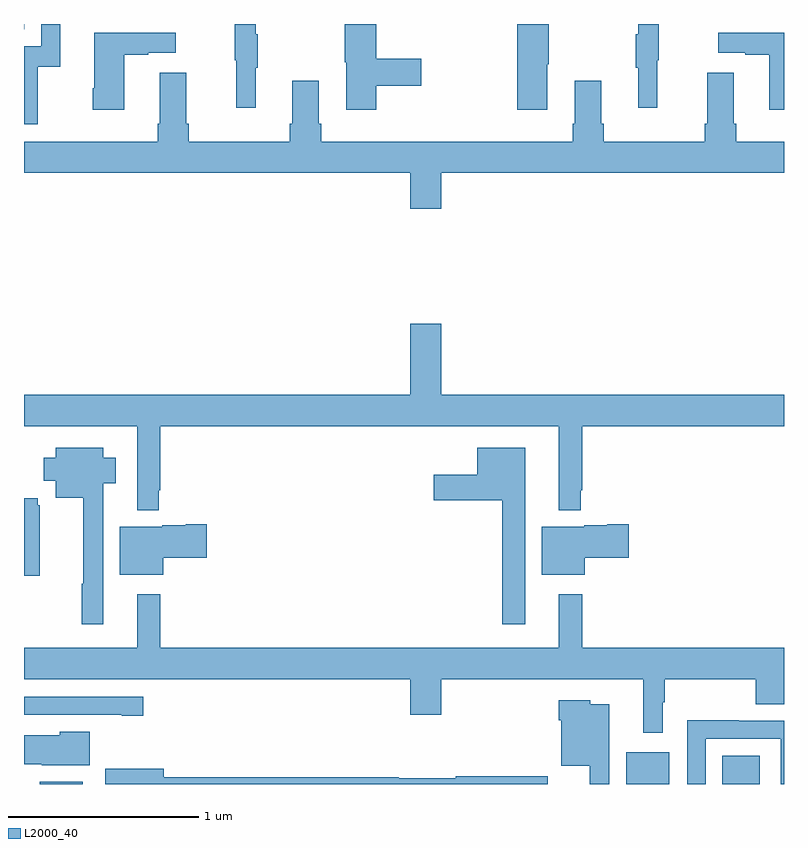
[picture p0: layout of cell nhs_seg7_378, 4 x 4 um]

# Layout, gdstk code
import gdstk
lib = gdstk.Library(unit=1e-6, precision=1e-09)
def R(c, l, rs):  # rectangles x0, y0, x1, y1
    for r in rs: c.add(gdstk.rectangle(r[:2], r[2:], *l))
def P(c, l, *ps):  # polygons
    for p in ps: c.add(gdstk.Polygon(p, *l))
L2000_40 = (2000, 40)

nhs_seg7_378 = lib.new_cell('nhs_seg7_378')
R(nhs_seg7_378, L2000_40, [(139.082,1064,139.309,1064.011), (142.169,1064,142.396,1064.167), (142.676,1064,142.873,1064.149), (139,1067.973,139.002,1068)])
P(nhs_seg7_378, L2000_40, [(142.334,1067.808),(142.342,1067.808),(142.342,1068),(142.232,1068),(142.232,1067.945),(142.221,1067.945),(142.221,1067.771),(142.232,1067.771),(142.232,1067.559),(142.334,1067.559)],
  [(141.754,1067.788),(141.762,1067.788),(141.762,1068),(141.596,1068),(141.596,1067.55),(141.754,1067.55)],
  [(140.219,1067.771),(140.23,1067.771),(140.23,1067.945),(140.219,1067.945),(140.219,1068),(140.109,1068),(140.109,1067.808),(140.116,1067.808),(140.116,1067.559),(140.219,1067.559)],
  [(139.072,1067.775),(139.19,1067.775),(139.19,1068),(139.092,1068),(139.092,1067.883),(139,1067.883),(139,1067.472),(139.072,1067.472)],
  [(140.855,1067.674),(141.091,1067.674),(141.091,1067.816),(140.855,1067.816),(140.855,1068),(140.689,1068),(140.689,1067.799),(140.696,1067.799),(140.696,1067.55),(140.855,1067.55)],
  [(143,1067.953),(142.653,1067.953),(142.653,1067.849),(142.796,1067.849),(142.796,1067.839),(142.922,1067.839),(142.922,1067.55),(143,1067.55)],
  [(139.528,1067.839),(139.655,1067.839),(139.655,1067.849),(139.798,1067.849),(139.798,1067.953),(139.37,1067.953),(139.37,1067.662),(139.363,1067.662),(139.363,1067.55),(139.528,1067.55)],
  [(143,1067.38),(142.748,1067.38),(142.748,1067.476),(142.735,1067.476),(142.735,1067.743),(142.595,1067.743),(142.595,1067.476),(142.583,1067.476),(142.583,1067.38),(142.052,1067.38),(142.052,1067.476),(142.039,1067.476),(142.039,1067.701),(141.899,1067.701),(141.899,1067.476),(141.887,1067.476),(141.887,1067.38),(140.564,1067.38),(140.564,1067.476),(140.551,1067.476),(140.551,1067.701),(140.411,1067.701),(140.411,1067.476),(140.399,1067.476),(140.399,1067.38),(139.868,1067.38),(139.868,1067.476),(139.855,1067.476),(139.855,1067.743),(139.715,1067.743),(139.715,1067.476),(139.703,1067.476),(139.703,1067.38),(139,1067.38),(139,1067.216),(141.032,1067.216),(141.032,1067.028),(141.196,1067.028),(141.196,1067.216),(143,1067.216)],
  [(139.709,1065.547),(139.717,1065.547),(139.717,1065.884),(141.815,1065.884),(141.815,1065.44),(141.929,1065.44),(141.929,1065.547),(141.937,1065.547),(141.937,1065.884),(143,1065.884),(143,1066.048),(141.196,1066.048),(141.196,1066.423),(141.032,1066.423),(141.032,1066.048),(139,1066.048),(139,1065.884),(139.595,1065.884),(139.595,1065.44),(139.709,1065.44)],
  [(139.417,1065.584),(139.483,1065.584),(139.483,1065.718),(139.417,1065.718),(139.417,1065.769),(139.166,1065.769),(139.166,1065.718),(139.103,1065.718),(139.103,1065.596),(139.166,1065.596),(139.166,1065.506),(139.313,1065.506),(139.313,1065.053),(139.303,1065.053),(139.303,1064.841),(139.417,1064.841)],
  [(141.637,1065.769),(141.386,1065.769),(141.386,1065.628),(141.156,1065.628),(141.156,1065.494),(141.516,1065.494),(141.516,1064.841),(141.637,1064.841)],
  [(139.084,1065.468),(139.072,1065.468),(139.072,1065.505),(139,1065.505),(139,1065.095),(139.084,1065.095)],
  [(141.952,1065.19),(142.183,1065.19),(142.183,1065.368),(142.07,1065.368),(142.07,1065.361),(141.948,1065.361),(141.948,1065.355),(141.725,1065.355),(141.725,1065.101),(141.952,1065.101)],
  [(139.732,1065.19),(139.963,1065.19),(139.963,1065.368),(139.85,1065.368),(139.85,1065.361),(139.728,1065.361),(139.728,1065.355),(139.505,1065.355),(139.505,1065.101),(139.732,1065.101)],
  [(142.363,1064.431),(142.373,1064.431),(142.373,1064.552),(142.852,1064.552),(142.852,1064.419),(143,1064.419),(143,1064.716),(141.937,1064.716),(141.937,1064.998),(141.815,1064.998),(141.815,1064.716),(139.717,1064.716),(139.717,1064.998),(139.595,1064.998),(139.595,1064.716),(139,1064.716),(139,1064.552),(141.032,1064.552),(141.032,1064.364),(141.196,1064.364),(141.196,1064.552),(142.259,1064.552),(142.259,1064.271),(142.363,1064.271)],
  [(139.627,1064.46),(139,1064.46),(139,1064.364),(139.514,1064.364),(139.514,1064.359),(139.627,1064.359)],
  [(142.081,1064.419),(141.981,1064.419),(141.981,1064.44),(141.815,1064.44),(141.815,1064.336),(141.827,1064.336),(141.827,1064.096),(141.977,1064.096),(141.977,1064),(142.081,1064)],
  [(142.587,1064.238),(142.983,1064.238),(142.983,1064),(143,1064),(143,1064.334),(142.763,1064.334),(142.763,1064.336),(142.491,1064.336),(142.491,1064),(142.587,1064)],
  [(139.345,1064.275),(139.188,1064.275),(139.188,1064.257),(139.001,1064.257),(139.001,1064.196),(139,1064.196),(139,1064.103),(139.093,1064.103),(139.093,1064.099),(139.345,1064.099)],
  [(141.757,1064.042),(141.272,1064.042),(141.272,1064.029),(140.972,1064.029),(140.972,1064.036),(139.735,1064.036),(139.735,1064.08),(139.428,1064.08),(139.428,1064),(141.757,1064)])

lib.write_gds('nhs_seg7_378.gds')
